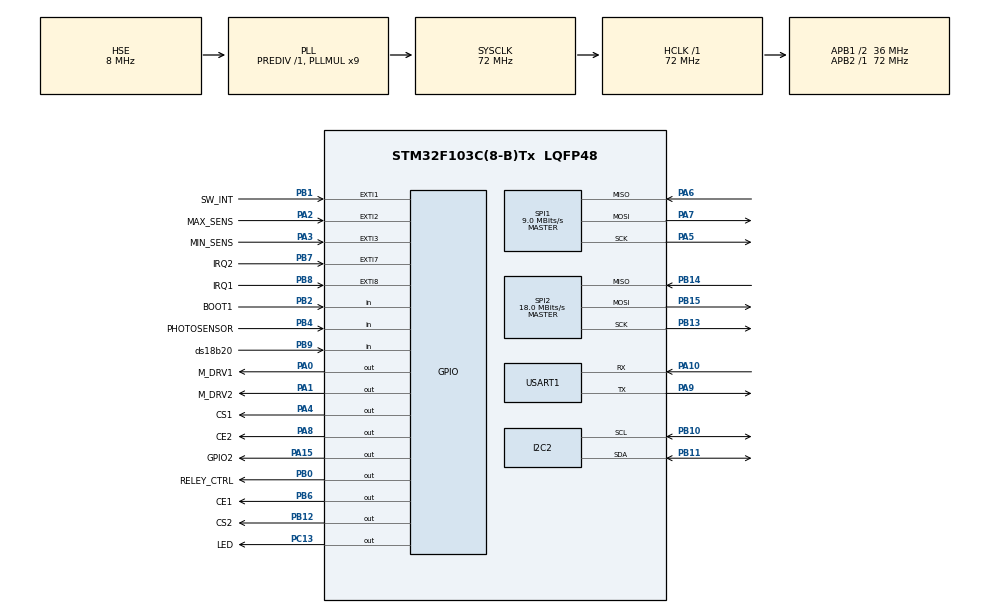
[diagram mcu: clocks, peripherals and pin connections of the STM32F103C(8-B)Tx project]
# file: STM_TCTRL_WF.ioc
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Mcu.Family=STM32F1
Mcu.Name=STM32F103C(8-B)Tx
Mcu.Package=LQFP48
NVIC.EXTI1_IRQn=true\:0\:0\:false\:false\:true\:true\:true
NVIC.EXTI2_IRQn=true\:0\:0\:false\:false\:true\:true\:true
NVIC.EXTI3_IRQn=true\:0\:0\:false\:false\:true\:true\:true
NVIC.EXTI9_5_IRQn=true\:0\:0\:false\:false\:true\:true\:true
NVIC.PriorityGroup=NVIC_PRIORITYGROUP_4
NVIC.TIM1_UP_IRQn=true\:0\:0\:false\:false\:true\:true\:true
NVIC.USART1_IRQn=true\:0\:0\:false\:false\:true\:true\:true
PA0-WKUP.GPIO_Label=M_DRV1
PA0-WKUP.Signal=GPIO_Output
PA1.GPIO_Label=M_DRV2
PA1.Signal=GPIO_Output
PA10.Mode=Asynchronous
PA10.Signal=USART1_RX
PA13.Mode=Trace_Asynchronous_SW
PA13.Signal=SYS_JTMS-SWDIO
PA14.Mode=Trace_Asynchronous_SW
PA14.Signal=SYS_JTCK-SWCLK
PA15.GPIO_Label=GPIO2
PA15.Signal=GPIO_Output
PA2.GPIO_Label=MAX_SENS
PA2.GPIO_ModeDefaultEXTI=GPIO_MODE_IT_RISING_FALLING
PA2.GPIO_PuPd=GPIO_PULLUP
PA2.Signal=GPXTI2
PA3.GPIO_Label=MIN_SENS
PA3.GPIO_ModeDefaultEXTI=GPIO_MODE_IT_RISING_FALLING
PA3.GPIO_PuPd=GPIO_PULLUP
PA3.Signal=GPXTI3
PA4.GPIO_Label=CS1
PA4.Signal=GPIO_Output
PA5.Mode=Full_Duplex_Master
PA5.Signal=SPI1_SCK
PA6.Mode=Full_Duplex_Master
PA6.Signal=SPI1_MISO
PA7.Mode=Full_Duplex_Master
PA7.Signal=SPI1_MOSI
PA8.GPIO_Label=CE2
PA8.Signal=GPIO_Output
PA9.Mode=Asynchronous
PA9.Signal=USART1_TX
PB0.GPIO_Label=RELEY_CTRL
PB0.Signal=GPIO_Output
PB1.GPIO_Label=SW_INT
PB1.GPIO_ModeDefaultEXTI=GPIO_MODE_IT_FALLING
PB1.Signal=GPXTI1
PB10.Mode=I2C
PB10.Signal=I2C2_SCL
PB11.Mode=I2C
PB11.Signal=I2C2_SDA
PB12.GPIO_Label=CS2
PB12.Signal=GPIO_Output
PB13.Mode=Full_Duplex_Master
PB13.Signal=SPI2_SCK
PB14.Mode=Full_Duplex_Master
PB14.Signal=SPI2_MISO
PB15.Mode=Full_Duplex_Master
PB15.Signal=SPI2_MOSI
PB2.GPIO_Label=BOOT1
PB2.Signal=GPIO_Input
PB3.Mode=Trace_Asynchronous_SW
PB3.Signal=SYS_JTDO-TRACESWO
PB4.GPIO_Label=PHOTOSENSOR
PB4.Signal=GPIO_Input
PB6.GPIO_Label=CE1
PB6.Signal=GPIO_Output
PB7.GPIO_Label=IRQ2
PB7.GPIO_ModeDefaultEXTI=GPIO_MODE_IT_FALLING
PB7.GPIO_PuPd=GPIO_PULLUP
PB7.Signal=GPXTI7
PB8.GPIO_Label=IRQ1
PB8.GPIO_ModeDefaultEXTI=GPIO_MODE_IT_FALLING
PB8.GPIO_PuPd=GPIO_PULLUP
PB8.Signal=GPXTI8
PB9.GPIO_Label=ds18b20
PB9.Signal=GPIO_Input
PC13-TAMPER-RTC.GPIO_Label=LED
PC13-TAMPER-RTC.Signal=GPIO_Output
PC14-OSC32_IN.Mode=LSE-External-Oscillator
PC14-OSC32_IN.Signal=RCC_OSC32_IN
PC15-OSC32_OUT.Mode=LSE-External-Oscillator
PC15-OSC32_OUT.Signal=RCC_OSC32_OUT
PD0-OSC_IN.Mode=HSE-External-Oscillator
PD0-OSC_IN.Signal=RCC_OSC_IN
PD1-OSC_OUT.Mode=HSE-External-Oscillator
PD1-OSC_OUT.Signal=RCC_OSC_OUT
ProjectManager.HeapSize=0x800
ProjectManager.StackSize=0x800
ProjectManager.TargetToolchain=MDK-ARM V5
RCC.AHBFreq_Value=72000000
RCC.APB1CLKDivider=RCC_HCLK_DIV2
RCC.APB1Freq_Value=36000000
RCC.APB1TimFreq_Value=72000000
RCC.APB2Freq_Value=72000000
RCC.APB2TimFreq_Value=72000000
RCC.HCLKFreq_Value=72000000
RCC.PLLMUL=RCC_PLL_MUL9
RCC.PLLSourceVirtual=RCC_PLLSOURCE_HSE
RCC.RTCClockSelection=RCC_RTCCLKSOURCE_LSE
RCC.SYSCLKFreq_VALUE=72000000
RCC.SYSCLKSource=RCC_SYSCLKSOURCE_PLLCLK
RCC.USBFreq_Value=48000000
RCC.USBPrescaler=RCC_USBCLKSOURCE_PLL_DIV1_5
SPI1.BaudRatePrescaler=SPI_BAUDRATEPRESCALER_8
SPI1.CalculateBaudRate=9.0 MBits/s
SPI1.Direction=SPI_DIRECTION_2LINES
SPI1.Mode=SPI_MODE_MASTER
SPI1.VirtualType=VM_MASTER
SPI2.CalculateBaudRate=18.0 MBits/s
SPI2.Direction=SPI_DIRECTION_2LINES
SPI2.Mode=SPI_MODE_MASTER
SPI2.VirtualType=VM_MASTER
TIM1.ClockDivision=TIM_CLOCKDIVISION_DIV1
TIM1.Period=100
TIM1.Prescaler=35999
USART1.VirtualMode=VM_ASYNC
VP_CRC_VS_CRC.Mode=CRC_Activate
VP_TIM1_VS_ClockSourceINT.Mode=Internal
board=STM_TCTRL_New

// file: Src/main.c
/* USER CODE BEGIN Header */
/**
  ******************************************************************************
  * @file           : main.c
  * @brief          : Main program body
  ******************************************************************************
  * @attention
  *
  * <h2><center>&copy; Copyright (c) 2019 STMicroelectronics.
  * All rights reserved.</center></h2>
  *
  * This software component is licensed by ST under BSD 3-Clause license,
  * the "License"; You may not use this file except in compliance with the
  * License. You may obtain a copy of the License at:
  *                        opensource.org/licenses/BSD-3-Clause
  *
  ******************************************************************************
  */
/* USER CODE END Header */

#include "main.h"
#include "crc.h"
#include "i2c.h"
#include "spi.h"
#include "tim.h"
#include "usart.h"
#include "gpio.h"

/* USER CODE BEGIN Includes */
#include <stdio.h>
#include "ds18b20.h"
#include "7seg.h"

#include "drive.h"
#include "io_expander.h"
#include "system.h"
#include "uart_cmd_parser.h"
/* USER CODE END Includes */

void SystemClock_Config(void);

int main(void)
{

  /* MCU Configuration--------------------------------------------------------*/

  /* Reset of all peripherals, Initializes the Flash interface and the Systick. */
  HAL_Init();

  /* Configure the system clock */
  SystemClock_Config();

  /* Initialize all configured peripherals */
  MX_GPIO_Init();
  MX_USART1_UART_Init();
  MX_SPI1_Init();
  MX_SPI2_Init();
  MX_I2C2_Init();
  MX_TIM1_Init();
  MX_CRC_Init();
  /* USER CODE BEGIN 2 */

//Arm UART1
HAL_UART_Receive_IT(&huart1, &receive_val, 1);

SysInit();
//putsUSART("=====================SysInit======================\r\n");
printf("=====================SysInit======================\r\n");

//if(!NRF24_Init()){
//	if(WL_Check_Addr(0xC0)){
//	//0 - addr free READY
//	//1 - init fail
//	//2 - addr busy
//	//3 - timeout
//		SysState.nrf24_en_f=0;
//		putcSS(SEV_SEG_A);
//		PrintDecSevSeg(0);
//
//	}else{
//		SysState.nrf24_en_f=1;
//		putcSS(SEV_SEG_A);
//		PrintDecSevSeg(NRF_RX_ADDR[0]);
//	}
//	SS_LATCH();
//	uint8_t t=5;
//	while(t--){

//	HAL_Delay(300);
//		SS_OE(1);
//	HAL_Delay(300);
//	SS_OE(0);
//	}
//}
  /* USER CODE END 2 */

  /* Infinite loop */
  /* USER CODE BEGIN WHILE */

  while (1)
  {
		SystemTask();
		if (btn_pressed_f) {
			switch (Buttons_GetCode()) {
				case BTN_DOWN:
					printf("DOWN\r\n");
					SetTemp();
	        SysCnt.temp_update = 0;
	        SysCnt.temp_ctrl = 0;
				break;
				case BTN_UP:
					SetTemp();
					printf("UP\r\n");
					SysCnt.temp_update = 0;
	        SysCnt.temp_ctrl = 0;
				break;

			}
		}

    /* USER CODE END WHILE */

  }
}

void SystemClock_Config(void)
{
  RCC_OscInitTypeDef RCC_OscInitStruct = {0};
  RCC_ClkInitTypeDef RCC_ClkInitStruct = {0};

  /** Initializes the CPU, AHB and APB busses clocks
  */
  RCC_OscInitStruct.OscillatorType = RCC_OSCILLATORTYPE_HSE;
  RCC_OscInitStruct.HSEState = RCC_HSE_ON;
  RCC_OscInitStruct.HSEPredivValue = RCC_HSE_PREDIV_DIV1;
  RCC_OscInitStruct.HSIState = RCC_HSI_ON;
  RCC_OscInitStruct.PLL.PLLState = RCC_PLL_ON;
  RCC_OscInitStruct.PLL.PLLSource = RCC_PLLSOURCE_HSE;
  RCC_OscInitStruct.PLL.PLLMUL = RCC_PLL_MUL9;
  if (HAL_RCC_OscConfig(&RCC_OscInitStruct) != HAL_OK)
  {
    Error_Handler();
  }
  /** Initializes the CPU, AHB and APB busses clocks
  */
  RCC_ClkInitStruct.ClockType = RCC_CLOCKTYPE_HCLK|RCC_CLOCKTYPE_SYSCLK
                              |RCC_CLOCKTYPE_PCLK1|RCC_CLOCKTYPE_PCLK2;
  RCC_ClkInitStruct.SYSCLKSource = RCC_SYSCLKSOURCE_PLLCLK;
  RCC_ClkInitStruct.AHBCLKDivider = RCC_SYSCLK_DIV1;
  RCC_ClkInitStruct.APB1CLKDivider = RCC_HCLK_DIV2;
  RCC_ClkInitStruct.APB2CLKDivider = RCC_HCLK_DIV1;

  if (HAL_RCC_ClockConfig(&RCC_ClkInitStruct, FLASH_LATENCY_2) != HAL_OK)
  {
    Error_Handler();
  }
}

void Error_Handler(void)
{
}

/************************ (C) COPYRIGHT STMicroelectronics *****END OF FILE****/
